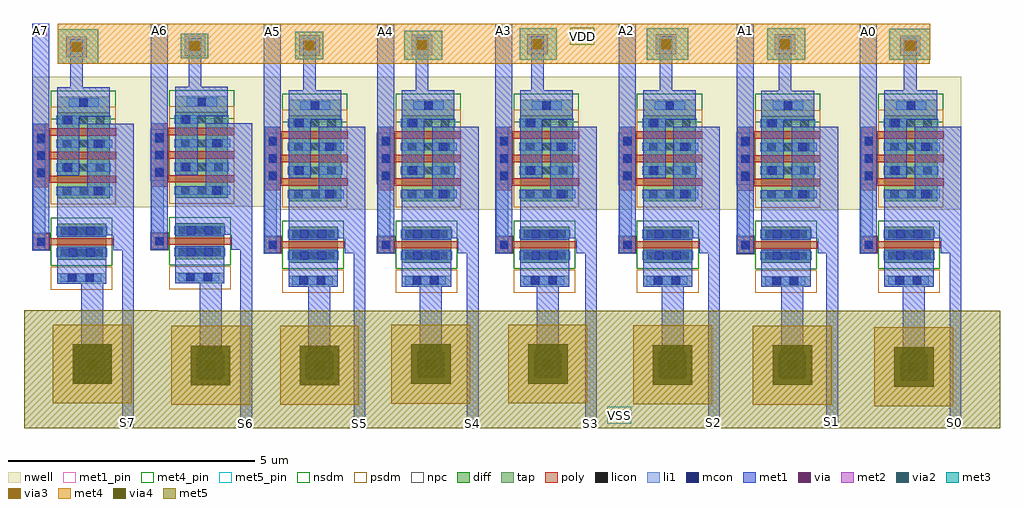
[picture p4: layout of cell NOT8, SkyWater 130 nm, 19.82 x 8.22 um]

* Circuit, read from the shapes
.subckt NOT8 A0 A1 A2 A3 A4 A5 A6 A7 S0 S1 S2 S3 S4 S5 S6 S7 VDD VSS
XM1 S7 A7 VSS VSS sky130_fd_pr__nfet_01v8 w=1 l=0.15
XM2 S6 A6 VSS VSS sky130_fd_pr__nfet_01v8 w=1 l=0.15
XM3 S5 A5 VSS VSS sky130_fd_pr__nfet_01v8 w=1 l=0.15
XM4 S4 A4 VSS VSS sky130_fd_pr__nfet_01v8 w=1 l=0.15
XM5 S3 A3 VSS VSS sky130_fd_pr__nfet_01v8 w=1 l=0.15
XM6 S2 A2 VSS VSS sky130_fd_pr__nfet_01v8 w=1 l=0.15
XM7 S1 A1 VSS VSS sky130_fd_pr__nfet_01v8 w=1 l=0.15
XM8 S0 A0 VSS VSS sky130_fd_pr__nfet_01v8 w=1 l=0.15
XM9 VDD A7 S7 VDD sky130_fd_pr__pfet_01v8 w=1.07 l=0.15 m=3
XM10 VDD A6 S6 VDD sky130_fd_pr__pfet_01v8 w=1.07 l=0.15 m=3
XM11 VDD A5 S5 VDD sky130_fd_pr__pfet_01v8 w=1.07 l=0.15 m=3
XM12 VDD A4 S4 VDD sky130_fd_pr__pfet_01v8 w=1.07 l=0.15 m=3
XM13 VDD A3 S3 VDD sky130_fd_pr__pfet_01v8 w=1.07 l=0.15 m=3
XM14 VDD A2 S2 VDD sky130_fd_pr__pfet_01v8 w=1.07 l=0.15 m=3
XM15 VDD A1 S1 VDD sky130_fd_pr__pfet_01v8 w=1.07 l=0.15 m=3
XM16 VDD A0 S0 VDD sky130_fd_pr__pfet_01v8 w=1.07 l=0.15 m=3
.ends

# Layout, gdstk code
from math import pi, radians
import gdstk
lib = gdstk.Library(unit=1e-6, precision=1e-09)
def R(c, l, rs):  # rectangles x0, y0, x1, y1
    for r in rs: c.add(gdstk.rectangle(r[:2], r[2:], *l))
def A(c, l, x, y, w, h, nx, ny, dx, dy):  # array of equal rectangles
    R(c, l, [(x+i*dx, y+j*dy, x+i*dx+w, y+j*dy+h) for i in range(nx) for j in range(ny)])
nwell = (64, 20)
diff = (65, 20)
tap = (65, 44)
poly = (66, 20)
licon = (66, 44)
li1 = (67, 20)
mcon = (67, 44)
met1_pin = (68, 16)
met1 = (68, 20)
via = (68, 44)
met2 = (69, 20)
via2 = (69, 44)
met3 = (70, 20)
via3 = (70, 44)
met4_pin = (71, 16)
met4 = (71, 20)
via4 = (71, 44)
met5_pin = (72, 16)
met5 = (72, 20)
nsdm = (93, 44)
psdm = (94, 20)
npc = (95, 20)

sky130_fd_pr__nfet_01v8_ = lib.new_cell('sky130_fd_pr__nfet_01v8_6H9P4D')
R(sky130_fd_pr__nfet_01v8_, diff, [(-0.365,-0.5,0.365,0.5)])
R(sky130_fd_pr__nfet_01v8_, poly, [(-0.075,-0.63,0.075,0.63)])
A(sky130_fd_pr__nfet_01v8_, licon, -0.305, -0.425, 0.17, 0.17, 1, 3, 0, 0.34)
A(sky130_fd_pr__nfet_01v8_, licon, 0.135, -0.425, 0.17, 0.17, 1, 3, 0, 0.34)
R(sky130_fd_pr__nfet_01v8_, li1, [(-0.305,-0.52,-0.135,0.52), (0.135,-0.52,0.305,0.52)])
R(sky130_fd_pr__nfet_01v8_, mcon, [(-0.305,-0.265,-0.135,-0.095), (0.135,-0.265,0.305,-0.095), (-0.305,0.095,-0.135,0.265), (0.135,0.095,0.305,0.265)])
R(sky130_fd_pr__nfet_01v8_, met1, [(-0.335,-0.5,-0.105,0.5), (0.105,-0.5,0.335,0.5)])
R(sky130_fd_pr__nfet_01v8_, nsdm, [(-0.49,-0.625,0.49,0.625)])

efepmos_w107_l15_f3 = lib.new_cell('efepmos_W107-L15-F3')
R(efepmos_w107_l15_f3, nwell, [(-1.045,-1.035,1.045,0.845)])
R(efepmos_w107_l15_f3, diff, [(-0.865,-0.535,0.865,0.535)])
A(efepmos_w107_l15_f3, poly, -0.555, -0.69, 0.15, 1.355, 3, 1, 0.48, 0)
R(efepmos_w107_l15_f3, poly, [(-0.645,-1.02,0.645,-0.69)])
A(efepmos_w107_l15_f3, licon, -0.425, -0.94, 0.17, 0.17, 3, 1, 0.34, 0)
A(efepmos_w107_l15_f3, licon, -0.805, -0.425, 0.17, 0.17, 1, 3, 0, 0.34)
A(efepmos_w107_l15_f3, licon, 0.155, -0.425, 0.17, 0.17, 1, 3, 0, 0.34)
A(efepmos_w107_l15_f3, licon, -0.325, -0.415, 0.17, 0.17, 1, 3, 0, 0.34)
A(efepmos_w107_l15_f3, licon, 0.635, -0.415, 0.17, 0.17, 1, 3, 0, 0.34)
R(efepmos_w107_l15_f3, li1, [(-0.645,-0.94,0.645,-0.77), (-0.805,-0.555,-0.635,0.555), (-0.325,-0.555,-0.155,0.585), (0.155,-0.555,0.325,0.555), (0.635,-0.555,0.805,0.585)])
A(efepmos_w107_l15_f3, mcon, -0.445, -0.94, 0.17, 0.17, 3, 1, 0.36, 0)
R(efepmos_w107_l15_f3, mcon, [(-0.805,-0.395,-0.635,-0.225), (0.155,-0.395,0.325,-0.225), (-0.325,0.215,-0.155,0.385), (0.635,0.215,0.805,0.385)])
R(efepmos_w107_l15_f3, met1, [(-0.645,-1.02,0.645,-0.69), (-1.045,-0.535,0.405,-0.08), (-0.405,0.08,1.045,0.535)])
R(efepmos_w107_l15_f3, psdm, [(-0.99,-0.66,0.99,0.66)])
R(efepmos_w107_l15_f3, npc, [(-0.525,-1.04,0.525,-0.67)])

inv = lib.new_cell('inv')
R(inv, nwell, [(1.88,0,2.06,1.83), (1.63,1.44,1.715,1.45), (1.115,1.45,1.715,1.69), (0.505,1.735,0.52,1.83), (0,1.83,2.06,2.43)])
R(inv, tap, [(0.5,-1.555,1.5,-1.34), (0.5,1.91,1.57,2.24)])
R(inv, poly, [(0.015,-0.87,0.35,-0.78), (0.015,-0.78,0.375,-0.63), (0.015,-0.63,0.35,-0.54)])
R(inv, licon, [(0.73,-1.52,0.9,-1.35), (1.07,-1.52,1.24,-1.35), (0.095,-0.79,0.265,-0.62), (0.955,2.04,1.125,2.21)])
R(inv, li1, [(0.575,-1.52,1.395,-1.35), (0.015,-0.87,0.265,1.695), (0.735,2.04,1.35,2.21)])
R(inv, mcon, [(0.72,-1.52,0.89,-1.35), (1.08,-1.52,1.25,-1.35), (0.095,-0.79,0.265,-0.62), (0.955,2.04,1.125,2.21)])
R(inv, met1, [(0.5,-1.555,1.5,-0.805), (0,-0.875,0.345,0.4), (1.64,-0.875,2.06,-0.57), (0.5,-0.57,2.06,0.41), (0,0.4,0.265,1.69), (1.115,0.41,2.06,1.69), (0.505,1.735,0.52,1.83), (0.5,1.83,1.57,2.43)])
R(inv, nsdm, [(0.375,1.785,1.695,2.365)])
R(inv, psdm, [(0.375,-1.68,1.625,-1.215)])
R(inv, npc, [(-0.005,-0.89,0.365,-0.52)])
inv.add(gdstk.Reference(sky130_fd_pr__nfet_01v8_, (1,-0.705), rotation=3*pi/2))
inv.add(gdstk.Reference(efepmos_w107_l15_f3, (1.035,1.045), rotation=3*pi/2))
inv.add(gdstk.Label('A', (0,0.39), layer=68, texttype=16))
inv.add(gdstk.Label('VSS', (0.99,-1.555), layer=68, texttype=16))
inv.add(gdstk.Label('VDD', (1.05,2.43), layer=68, texttype=16))
inv.add(gdstk.Label('Y', (2.06,0.39), layer=68, texttype=16))

not8 = lib.new_cell('NOT8')
R(not8, nwell, [(6.375,1.93,7.705,2.55), (8.655,1.93,9.985,2.55), (11.065,1.93,12.395,2.55), (13.565,1.93,14.895,2.55), (15.965,1.93,17.295,2.55), (1.68,1.99,2.305,2.53), (4.075,2,4.54,2.55), (1.555,2.53,2.305,2.545), (1.555,2.545,2.085,2.55), (-0.38,2.55,18.3,4.36), (-0.38,4.36,18.48,4.64)])
R(not8, met1_pin, [(3.87,-2.48,4.045,-2.315), (6.175,-2.48,6.35,-2.315), (8.47,-2.48,8.645,-2.315), (10.87,-2.48,11.045,-2.315), (1.47,-2.475,1.645,-2.31), (13.37,-2.475,13.545,-2.31), (18.26,-2.475,18.435,-2.31), (15.765,-2.44,15.94,-2.275), (4.36,5.44,4.615,5.675), (16.465,5.44,16.72,5.675), (6.66,5.445,6.915,5.68), (9.065,5.45,9.32,5.685), (13.965,5.45,14.22,5.685), (-0.34,5.455,-0.085,5.69), (2.065,5.455,2.32,5.69), (11.56,5.455,11.815,5.69)])
R(not8, met1, [(1.44,-2.505,1.68,1.115), (3.84,-2.505,4.08,1.185), (6.14,-2.505,6.38,1.1), (8.44,-2.505,8.68,1.095), (10.84,-2.505,11.08,1.08), (13.34,-2.505,13.58,1.095), (15.74,-2.505,15.98,1.095), (18.24,-2.505,18.48,1.145), (17.29,-1.51,17.735,0.445), (3.015,-1.48,3.46,0.445), (5.225,-1.48,5.67,0.445), (14.825,-1.475,15.27,0.445), (12.395,-1.47,12.84,0.445), (7.485,-1.455,7.93,0.445), (0.61,-1.45,1.055,0.445), (9.86,-1.45,10.305,0.445), (11.52,3.59,11.865,5.715), (16.42,3.59,16.765,5.715), (9.02,3.595,9.365,5.715), (13.92,3.605,14.265,5.715), (6.62,3.61,6.965,5.715), (4.32,3.615,4.665,5.715), (2.02,3.675,2.365,5.715), (-0.38,3.68,-0.035,5.715), (7.4,4.335,7.66,5.44), (12.355,4.335,12.615,5.455), (9.745,4.34,10.005,5.455), (14.77,4.34,15.03,5.455), (17.315,4.345,17.575,5.425), (5.115,4.35,5.375,5.43), (0.385,4.38,0.645,5.4), (2.79,4.38,3.05,5.42)])
R(not8, via, [(17.435,-1.335,17.585,-1.185), (3.16,-1.305,3.31,-1.155), (5.37,-1.305,5.52,-1.155), (14.97,-1.3,15.12,-1.15), (12.54,-1.295,12.69,-1.145), (7.63,-1.28,7.78,-1.13), (0.755,-1.275,0.905,-1.125), (10.005,-1.275,10.155,-1.125), (0.44,5.165,0.59,5.315), (2.845,5.185,2.995,5.335), (17.37,5.19,17.52,5.34), (5.17,5.195,5.32,5.345), (7.455,5.205,7.605,5.355), (9.8,5.22,9.95,5.37), (12.41,5.22,12.56,5.37), (14.825,5.22,14.975,5.37)])
R(not8, met2, [(17.265,-1.535,17.76,-1.48), (2.99,-1.505,3.485,-1.45), (5.2,-1.505,5.695,-1.45), (14.8,-1.5,15.295,-1.445), (12.37,-1.495,12.865,-1.44), (7.46,-1.48,7.955,-1.425), (17.26,-1.48,17.765,-1.035), (9.835,-1.475,10.33,-1.42), (2.985,-1.45,3.49,-1.005), (5.195,-1.45,5.7,-1.005), (14.795,-1.445,15.3,-1), (12.365,-1.44,12.87,-0.995), (7.455,-1.425,7.96,-0.98), (0.565,-1.42,1.1,-0.975), (9.83,-1.42,10.335,-0.975), (17.265,-1.035,17.76,-0.98), (2.99,-1.005,3.485,-0.95), (5.2,-1.005,5.695,-0.95), (14.8,-1,15.295,-0.945), (12.37,-0.995,12.865,-0.94), (7.46,-0.98,7.955,-0.925), (9.835,-0.975,10.33,-0.92), (0.31,5.035,0.72,5.445), (2.715,5.055,3.125,5.465), (17.24,5.06,17.65,5.47), (5.04,5.065,5.45,5.475), (7.325,5.075,7.735,5.485), (9.67,5.09,10.08,5.5), (12.28,5.09,12.69,5.5), (14.695,5.09,15.105,5.5)])
R(not8, via2, [(17.41,-1.36,17.61,-1.16), (3.135,-1.33,3.335,-1.13), (5.345,-1.33,5.545,-1.13), (14.945,-1.325,15.145,-1.125), (12.515,-1.32,12.715,-1.12), (7.605,-1.305,7.805,-1.105), (0.73,-1.3,0.93,-1.1), (9.98,-1.3,10.18,-1.1), (0.415,5.14,0.615,5.34), (2.82,5.16,3.02,5.36), (17.345,5.165,17.545,5.365), (5.145,5.17,5.345,5.37), (7.43,5.18,7.63,5.38), (9.775,5.195,9.975,5.395), (12.385,5.195,12.585,5.395), (14.8,5.195,15,5.395)])
R(not8, met3, [(0.46,-1.575,1.21,-0.84), (17.235,-1.505,17.79,-1.01), (2.96,-1.475,3.515,-0.98), (5.17,-1.475,5.725,-0.98), (14.77,-1.47,15.325,-0.975), (12.34,-1.465,12.895,-0.97), (7.43,-1.45,7.985,-0.955), (9.805,-1.445,10.36,-0.95), (0.135,4.9,0.955,5.595), (7.165,4.985,7.94,5.57), (9.515,4.985,10.27,5.62), (12.095,4.985,12.94,5.62), (14.535,4.985,15.31,5.62), (17.02,4.985,17.85,5.61), (4.955,4.99,5.53,5.545), (2.635,5.01,3.19,5.51)])
R(not8, via3, [(17.41,-1.36,17.61,-1.16), (3.135,-1.33,3.335,-1.13), (5.345,-1.33,5.545,-1.13), (14.945,-1.325,15.145,-1.125), (12.515,-1.32,12.715,-1.12), (7.605,-1.305,7.805,-1.105), (0.73,-1.3,0.93,-1.1), (9.98,-1.3,10.18,-1.1), (0.415,5.14,0.615,5.34), (2.82,5.16,3.02,5.36), (17.345,5.165,17.545,5.365), (5.145,5.17,5.345,5.37), (7.43,5.18,7.63,5.38), (9.775,5.195,9.975,5.395), (12.385,5.195,12.585,5.395), (14.8,5.195,15,5.395)])
R(not8, met4_pin, [(10.54,5.28,11.03,5.63)])
R(not8, met4, [(16.715,-2.055,18.315,-0.455), (2.44,-2.025,4.04,-0.425), (4.65,-2.025,6.25,-0.425), (14.25,-2.02,15.85,-0.42), (11.82,-2.015,13.42,-0.415), (6.91,-2,8.51,-0.4), (0.035,-1.995,1.635,-0.395), (9.285,-1.995,10.885,-0.395), (0.135,4.9,17.84,4.985), (0.135,4.985,17.85,5.715)])
R(not8, via4, [(17.115,-1.655,17.915,-0.855), (2.84,-1.625,3.64,-0.825), (5.05,-1.625,5.85,-0.825), (14.65,-1.62,15.45,-0.82), (12.22,-1.615,13.02,-0.815), (7.31,-1.6,8.11,-0.8), (0.435,-1.595,1.235,-0.795), (9.685,-1.595,10.485,-0.795)])
R(not8, met5_pin, [(11.29,-2.41,11.78,-2.06)])
R(not8, met5, [(-0.55,-2.505,19.265,-0.12), (-0.55,-0.12,2.175,-0.11)])
not8.add(gdstk.Reference(inv, (16.42,1.93)))
not8.add(gdstk.Reference(inv, (13.92,1.925)))
not8.add(gdstk.Reference(inv, (11.52,1.93)))
not8.add(gdstk.Reference(inv, (6.62,1.93)))
not8.add(gdstk.Reference(inv, (4.32,1.93)))
not8.add(gdstk.Reference(inv, (2.02,2)))
not8.add(gdstk.Reference(inv, (-0.38,1.99)))
not8.add(gdstk.Reference(inv, (9.02,1.93)))
not8.add(gdstk.Label('A7', (-0.212,5.572), layer=68, texttype=16))
not8.add(gdstk.Label('A6', (2.192,5.572), layer=68, texttype=16))
not8.add(gdstk.Label('A5', (4.487,5.557), layer=68, texttype=16))
not8.add(gdstk.Label('A4', (6.787,5.562), layer=68, texttype=16))
not8.add(gdstk.Label('A3', (9.192,5.567), layer=68, texttype=16))
not8.add(gdstk.Label('A2', (11.687,5.572), layer=68, texttype=16))
not8.add(gdstk.Label('A1', (14.092,5.567), layer=68, texttype=16))
not8.add(gdstk.Label('A0', (16.592,5.557), layer=68, texttype=16))
not8.add(gdstk.Label('S0', (18.347,-2.392), layer=68, texttype=16))
not8.add(gdstk.Label('S1', (15.852,-2.357), layer=68, texttype=16))
not8.add(gdstk.Label('S2', (13.457,-2.392), layer=68, texttype=16))
not8.add(gdstk.Label('S3', (10.957,-2.397), layer=68, texttype=16))
not8.add(gdstk.Label('S4', (8.557,-2.397), layer=68, texttype=16))
not8.add(gdstk.Label('S5', (6.262,-2.397), layer=68, texttype=16))
not8.add(gdstk.Label('S6', (3.957,-2.397), layer=68, texttype=16))
not8.add(gdstk.Label('S7', (1.557,-2.392), layer=68, texttype=16))
not8.add(gdstk.Label('VDD', (10.785,5.455), layer=71, texttype=16))
not8.add(gdstk.Label('VSS', (11.535,-2.235), layer=72, texttype=16))

lib.write_gds('NOT8.gds')
